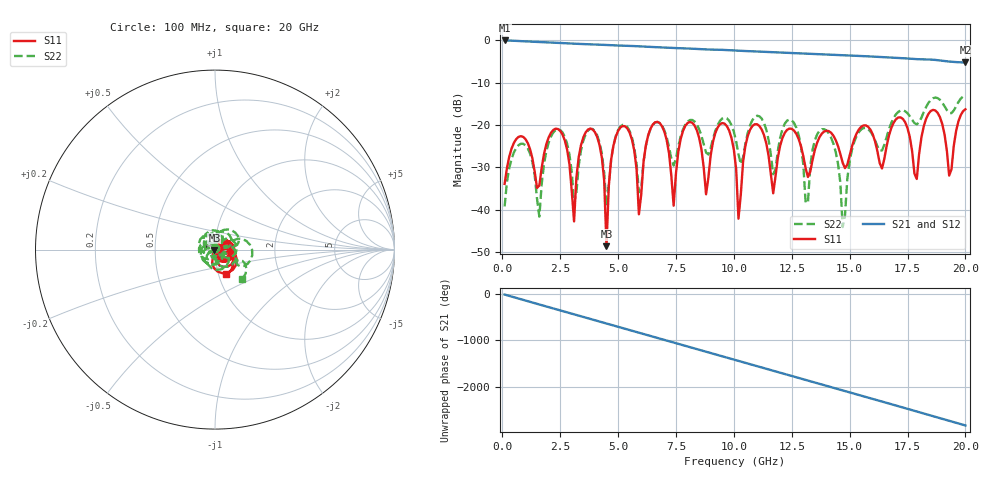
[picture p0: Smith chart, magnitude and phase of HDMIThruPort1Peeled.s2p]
! File created by SignalIntegrity v1.1.13: Signal and Power Integrity Tools
! https://github.com/TeledyneLeCroy/SignalIntegrity
# MHz S MA R 50.0
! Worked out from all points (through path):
!   200 points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, 100 MHz to 20 GHz, reference 50 ohm
!   highest |S21| = -0.07 dB at 100 MHz (marker M1); lowest = -5.3 dB at 20 GHz (marker M2)
!   group delay of S21, straight-line fit = 392 ps
!   lowest |S11| = -48.6 dB at 4.5 GHz (marker M3), VSWR 1.01, Z = 49.7 - j0.172 ohm
!   |S11| at or under -10 dB: start of sweep to end of sweep
!   |S22| runs from -44.1 to -13.0 dB; largest |S21 - S12| = 0.0076
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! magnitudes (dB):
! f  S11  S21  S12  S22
! 100 MHz  -33.9  -0.1  0.0  -39.3
! 900 MHz  -22.8  -0.3  -0.3  -24.5
! 1.6 GHz  -34.3  -0.4  -0.5  -41.7
! 2.4 GHz  -21.0  -0.6  -0.7  -21.0
! 3.1 GHz  -42.8  -0.8  -0.9  -38.5
! 3.5 GHz  -22.9  -0.9  -0.9  -23.7
! 4.2 GHz  -24.8  -1.0  -1.1  -24.2
! 4.5 GHz  -48.6  -1.1  -1.2  -39.3
! 5 GHz  -21.4  -1.3  -1.3  -21.2
! 5.9 GHz  -41.1  -1.5  -1.5  -35.9
! 6.8 GHz  -19.6  -1.7  -1.7  -19.6
! 7.4 GHz  -39.1  -1.8  -1.8  -29.6
! 8 GHz  -19.6  -2.0  -2.0  -19.2
! 10.1 GHz  -30.4  -2.5  -2.5  -23.9
! 13.4 GHz  -28.3  -3.2  -3.2  -25.9
! 14.2 GHz  -21.9  -3.4  -3.5  -23.0
! 14.7 GHz  -28.9  -3.5  -3.6  -44.1
! 15.3 GHz  -22.0  -3.7  -3.7  -22.7
! 16.7 GHz  -22.5  -4.1  -4.1  -21.0
! 18.7 GHz  -16.6  -4.7  -4.7  -13.6
! 19.3 GHz  -32.0  -5.0  -5.0  -17.2
! 20 GHz  -16.3  -5.3  -5.2  -13.0
